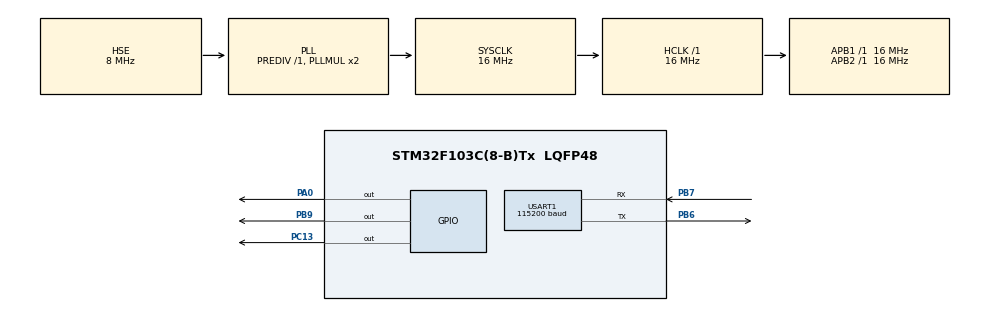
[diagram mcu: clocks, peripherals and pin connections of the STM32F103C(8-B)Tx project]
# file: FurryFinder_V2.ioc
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Mcu.Family=STM32F1
Mcu.Name=STM32F103C(8-B)Tx
Mcu.Package=LQFP48
NVIC.PriorityGroup=NVIC_PRIORITYGROUP_4
NVIC.USART1_IRQn=true\:0\:0\:false\:false\:true\:true\:true\:true
PA0-WKUP.Signal=GPIO_Output
PA13.Mode=Serial_Wire
PA13.Signal=SYS_JTMS-SWDIO
PA14.Mode=Serial_Wire
PA14.Signal=SYS_JTCK-SWCLK
PB6.Mode=Asynchronous
PB6.Signal=USART1_TX
PB7.Mode=Asynchronous
PB7.Signal=USART1_RX
PB9.Signal=GPIO_Output
PC13-TAMPER-RTC.Signal=GPIO_Output
PC14-OSC32_IN.Mode=LSE-External-Oscillator
PC14-OSC32_IN.Signal=RCC_OSC32_IN
PC15-OSC32_OUT.Mode=LSE-External-Oscillator
PC15-OSC32_OUT.Signal=RCC_OSC32_OUT
PD0-OSC_IN.Mode=HSE-External-Oscillator
PD0-OSC_IN.Signal=RCC_OSC_IN
PD1-OSC_OUT.Mode=HSE-External-Oscillator
PD1-OSC_OUT.Signal=RCC_OSC_OUT
ProjectManager.HeapSize=0x200
ProjectManager.StackSize=0x400
ProjectManager.TargetToolchain=STM32CubeIDE
RCC.AHBFreq_Value=16000000
RCC.APB1Freq_Value=16000000
RCC.APB1TimFreq_Value=16000000
RCC.APB2Freq_Value=16000000
RCC.APB2TimFreq_Value=16000000
RCC.HCLKFreq_Value=16000000
RCC.PLLSourceVirtual=RCC_PLLSOURCE_HSE
RCC.SYSCLKFreq_VALUE=16000000
RCC.SYSCLKSource=RCC_SYSCLKSOURCE_PLLCLK
RCC.USBFreq_Value=16000000
USART1.BaudRate=115200
USART1.VirtualMode=VM_ASYNC
board=custom

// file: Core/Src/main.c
/* USER CODE BEGIN Header */
/**
  ******************************************************************************
  * @file           : main.c
  * @brief          : Main program body
  ******************************************************************************
  * @attention
  *
  * Copyright (c) 2024 STMicroelectronics.
  * All rights reserved.
  *
  * This software is licensed under terms that can be found in the LICENSE file
  * in the root directory of this software component.
  * If no LICENSE file comes with this software, it is provided AS-IS.
  *
  ******************************************************************************
  */
/* USER CODE END Header */
#include "main.h"

/* USER CODE BEGIN Includes */
#include "SIM7070G.h"
#include "nmea.h"
/* USER CODE END Includes */

UART_HandleTypeDef huart1;

/* USER CODE BEGIN PV */

GPS_DATA GPS = {0};

char sentence[GPS_MAX + 1] = {0};

char decoy[GPS_MAX + 1] = "AT+CGNSINF\r\n+CGNSINF: 1,1,20241022215712.000,-34.617220,-58.382760,26.266,0.00,-5.4,0,,7.2,7.2,1.1,,4,,235.8,119.2\r\n\r\nOK\r\n";

char url[250] = {0}; //No idea how long it should be, I just sent it, sorry profe

const int UDID = 80085;
int run = 0;

/* USER CODE END PV */

void SystemClock_Config(void);
static void MX_GPIO_Init(void);
static void MX_USART1_UART_Init(void);

int main(void)
{

  /* MCU Configuration--------------------------------------------------------*/

  /* Reset of all peripherals, Initializes the Flash interface and the Systick. */
  HAL_Init();

  /* Configure the system clock */
  SystemClock_Config();

  /* Initialize all configured peripherals */
  MX_GPIO_Init();
  MX_USART1_UART_Init();
  /* USER CODE BEGIN 2 */

  SIM7070G_INIT();
  //PARSER(decoy, &GPS);

  /* USER CODE END 2 */

  /* Infinite loop */
  /* USER CODE BEGIN WHILE */
  while(1)
  {
	  //Blink LED every iteration, just to see if uC crashed
	  HAL_GPIO_TogglePin(GPIOC, GPIO_PIN_13);

	  //OBTAIN DATA
	  SIM7070G_GPS_REQUEST();
	  SIM7070G_BATT_REQUEST();

	  run = 0;
	  //SIM7070G_COMMAND_SINGLE("AT+CNACT=0,1\r\n");
	  //HAL_UART_Transmit_IT(&huart1, "AT+CNACT=0,1\r\n", strlen("AT+CNACT=0,1\r\n"));
	  HAL_UART_Receive(&huart1, (char*)sentence, GPS_MAX + 1, 120000); //just fuck me up man
/**
	  while(run == 0)
	  {
		  //HAL_Delay(120000); //FAILSAFE, should NOT run
		  run = 1;
	  } //I'm sorry
**/

	  //UPDATE GPS
	  memset(url,0,strlen(url));
	  sprintf(url,"AT+SHREQ=\"/gpsdata.php\?lat=%s&lng=%s&did=%d\",1\r\n", GPS.latitude, GPS.longitude, UDID);
	  SIM7070G_UPDATE(url);

	  //UPDATE BATTERY
	  memset(url,0,strlen(url));
	  sprintf(url, "AT+SHREQ=\"/bl.php\?bl=%d&did=%d\",1\r\n", GPS.batt, UDID);
	  SIM7070G_UPDATE(url);

	  SIM7070G_COMMAND_SINGLE("AT+CNACT=0,0\r\n");

	  //Sleep?
  }
    /* USER CODE END WHILE */

}

void SystemClock_Config(void)
{
  RCC_OscInitTypeDef RCC_OscInitStruct = {0};
  RCC_ClkInitTypeDef RCC_ClkInitStruct = {0};

  /** Initializes the RCC Oscillators according to the specified parameters
  * in the RCC_OscInitTypeDef structure.
  */
  RCC_OscInitStruct.OscillatorType = RCC_OSCILLATORTYPE_HSE;
  RCC_OscInitStruct.HSEState = RCC_HSE_ON;
  RCC_OscInitStruct.HSEPredivValue = RCC_HSE_PREDIV_DIV1;
  RCC_OscInitStruct.HSIState = RCC_HSI_ON;
  RCC_OscInitStruct.PLL.PLLState = RCC_PLL_ON;
  RCC_OscInitStruct.PLL.PLLSource = RCC_PLLSOURCE_HSE;
  RCC_OscInitStruct.PLL.PLLMUL = RCC_PLL_MUL2;
  if (HAL_RCC_OscConfig(&RCC_OscInitStruct) != HAL_OK)
  {
    Error_Handler();
  }

  /** Initializes the CPU, AHB and APB buses clocks
  */
  RCC_ClkInitStruct.ClockType = RCC_CLOCKTYPE_HCLK|RCC_CLOCKTYPE_SYSCLK
                              |RCC_CLOCKTYPE_PCLK1|RCC_CLOCKTYPE_PCLK2;
  RCC_ClkInitStruct.SYSCLKSource = RCC_SYSCLKSOURCE_PLLCLK;
  RCC_ClkInitStruct.AHBCLKDivider = RCC_SYSCLK_DIV1;
  RCC_ClkInitStruct.APB1CLKDivider = RCC_HCLK_DIV1;
  RCC_ClkInitStruct.APB2CLKDivider = RCC_HCLK_DIV1;

  if (HAL_RCC_ClockConfig(&RCC_ClkInitStruct, FLASH_LATENCY_0) != HAL_OK)
  {
    Error_Handler();
  }
}

static void MX_USART1_UART_Init(void)
{

  huart1.Instance = USART1;
  huart1.Init.BaudRate = 115200;
  huart1.Init.WordLength = UART_WORDLENGTH_8B;
  huart1.Init.StopBits = UART_STOPBITS_1;
  huart1.Init.Parity = UART_PARITY_NONE;
  huart1.Init.Mode = UART_MODE_TX_RX;
  huart1.Init.HwFlowCtl = UART_HWCONTROL_NONE;
  huart1.Init.OverSampling = UART_OVERSAMPLING_16;
  if (HAL_UART_Init(&huart1) != HAL_OK)
  {
    Error_Handler();
  }

}

static void MX_GPIO_Init(void)
{
  GPIO_InitTypeDef GPIO_InitStruct = {0};

  /* GPIO Ports Clock Enable */
  __HAL_RCC_GPIOC_CLK_ENABLE();
  __HAL_RCC_GPIOD_CLK_ENABLE();
  __HAL_RCC_GPIOA_CLK_ENABLE();
  __HAL_RCC_GPIOB_CLK_ENABLE();

  /*Configure GPIO pin Output Level */
  HAL_GPIO_WritePin(GPIOC, GPIO_PIN_13, GPIO_PIN_RESET);

  /*Configure GPIO pin Output Level */
  HAL_GPIO_WritePin(GPIOA, GPIO_PIN_0, GPIO_PIN_RESET);

  /*Configure GPIO pin Output Level */
  HAL_GPIO_WritePin(GPIOB, GPIO_PIN_9, GPIO_PIN_RESET);

  /*Configure GPIO pin : PC13 */
  GPIO_InitStruct.Pin = GPIO_PIN_13;
  GPIO_InitStruct.Mode = GPIO_MODE_OUTPUT_PP;
  GPIO_InitStruct.Pull = GPIO_NOPULL;
  GPIO_InitStruct.Speed = GPIO_SPEED_FREQ_LOW;
  HAL_GPIO_Init(GPIOC, &GPIO_InitStruct);

  /*Configure GPIO pin : PA0 */
  GPIO_InitStruct.Pin = GPIO_PIN_0;
  GPIO_InitStruct.Mode = GPIO_MODE_OUTPUT_PP;
  GPIO_InitStruct.Pull = GPIO_NOPULL;
  GPIO_InitStruct.Speed = GPIO_SPEED_FREQ_LOW;
  HAL_GPIO_Init(GPIOA, &GPIO_InitStruct);

  /*Configure GPIO pin : PB9 */
  GPIO_InitStruct.Pin = GPIO_PIN_9;
  GPIO_InitStruct.Mode = GPIO_MODE_OUTPUT_PP;
  GPIO_InitStruct.Pull = GPIO_NOPULL;
  GPIO_InitStruct.Speed = GPIO_SPEED_FREQ_LOW;
  HAL_GPIO_Init(GPIOB, &GPIO_InitStruct);

}

/* USER CODE BEGIN 4 */
void HAL_UART_RxCpltCallback(UART_HandleTypeDef *huart)
{
	//run = 1;
}

void HAL_UART_TxCpltCallback(UART_HandleTypeDef *huart)
{
	//HAL_UART_Receive_IT(&huart1, (char*)sentence, GPS_MAX+1);
}
/* USER CODE END 4 */

void Error_Handler(void)
{
  __disable_irq();
  while (1)
  {
  }
}
